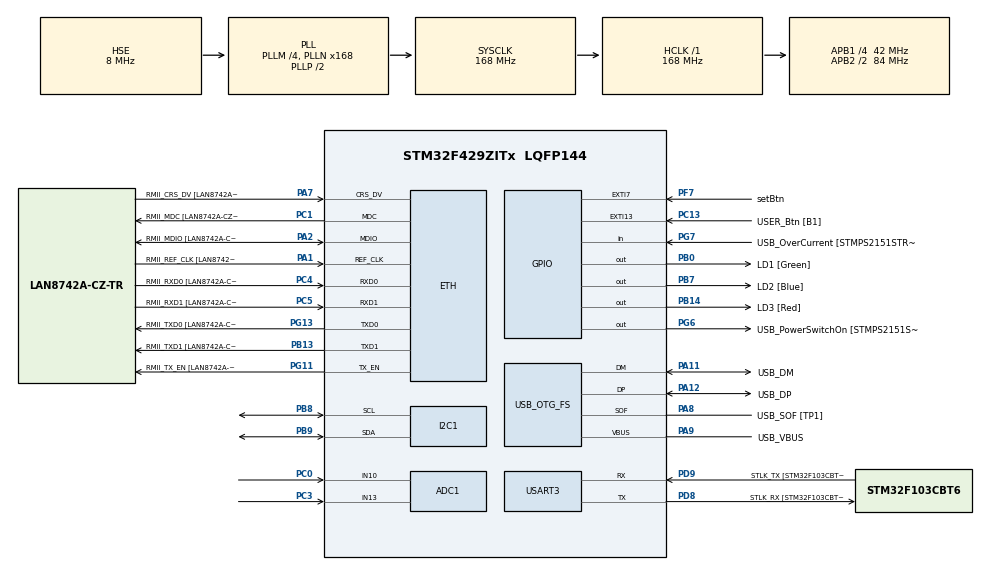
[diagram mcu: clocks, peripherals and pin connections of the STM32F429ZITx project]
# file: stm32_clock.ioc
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ADC1.Channel-0\#ChannelRegularConversion=ADC_CHANNEL_13
ADC1.Channel-2\#ChannelRegularConversion=ADC_CHANNEL_10
ADC1.ContinuousConvMode=ENABLE
ADC1.DMAContinuousRequests=ENABLE
ADC1.NbrOfConversion=2
ADC1.NbrOfConversionFlag=1
ADC1.Rank-0\#ChannelRegularConversion=1
ADC1.Rank-2\#ChannelRegularConversion=2
ADC1.SamplingTime-0\#ChannelRegularConversion=ADC_SAMPLETIME_84CYCLES
ADC1.SamplingTime-2\#ChannelRegularConversion=ADC_SAMPLETIME_84CYCLES
ADC1.ScanConvMode=ENABLE
ADC1.master=1
Dma.ADC1.0.Direction=DMA_PERIPH_TO_MEMORY
Dma.ADC1.0.FIFOMode=DMA_FIFOMODE_DISABLE
Dma.ADC1.0.Instance=DMA2_Stream0
Dma.ADC1.0.MemDataAlignment=DMA_MDATAALIGN_WORD
Dma.ADC1.0.MemInc=DMA_MINC_ENABLE
Dma.ADC1.0.Mode=DMA_CIRCULAR
Dma.ADC1.0.PeriphDataAlignment=DMA_PDATAALIGN_WORD
Dma.ADC1.0.PeriphInc=DMA_PINC_DISABLE
Dma.ADC1.0.Priority=DMA_PRIORITY_LOW
Dma.Request0=ADC1
ETH.MediaInterface=HAL_ETH_RMII_MODE
ETH.PHY_Name=LAN8742A_PHY_ADDRESS
ETH.PHY_Value=0
ETH.PhyAddress=0
Mcu.Family=STM32F4
Mcu.Name=STM32F429ZITx
Mcu.Package=LQFP144
NVIC.DMA2_Stream0_IRQn=true\:0\:0\:false\:false\:true\:false\:true\:true
NVIC.EXTI9_5_IRQn=true\:0\:0\:false\:true\:true\:1\:true\:true\:true
NVIC.PriorityGroup=NVIC_PRIORITYGROUP_4
NVIC.RTC_Alarm_IRQn=true\:0\:0\:false\:false\:true\:true\:true\:true
PA1.GPIO_Label=RMII_REF_CLK [LAN8742A-CZ-TR_REFCLK0]
PA1.Mode=RMII
PA1.Signal=ETH_REF_CLK
PA10.GPIO_Label=USB_ID
PA10.Signal=USB_OTG_FS_ID
PA11.GPIO_Label=USB_DM
PA11.Mode=Device_Only
PA11.Signal=USB_OTG_FS_DM
PA12.GPIO_Label=USB_DP
PA12.Mode=Device_Only
PA12.Signal=USB_OTG_FS_DP
PA13.GPIO_Label=TMS
PA13.Mode=Serial_Wire
PA13.Signal=SYS_JTMS-SWDIO
PA14.GPIO_Label=TCK
PA14.Mode=Serial_Wire
PA14.Signal=SYS_JTCK-SWCLK
PA2.GPIO_Label=RMII_MDIO [LAN8742A-CZ-TR_MDIO]
PA2.Mode=RMII
PA2.Signal=ETH_MDIO
PA7.GPIO_Label=RMII_CRS_DV [LAN8742A-CZ-TR_CRS_DV]
PA7.Mode=RMII
PA7.Signal=ETH_CRS_DV
PA8.GPIO_Label=USB_SOF [TP1]
PA8.Mode=Activate_SOF_FS
PA8.Signal=USB_OTG_FS_SOF
PA9.GPIO_Label=USB_VBUS
PA9.Mode=Activate_VBUS
PA9.Signal=USB_OTG_FS_VBUS
PB0.GPIO_Label=LD1 [Green]
PB0.Signal=GPIO_Output
PB13.GPIO_Label=RMII_TXD1 [LAN8742A-CZ-TR_TXD1]
PB13.Mode=RMII
PB13.Signal=ETH_TXD1
PB14.GPIO_Label=LD3 [Red]
PB14.Signal=GPIO_Output
PB7.GPIO_Label=LD2 [Blue]
PB7.Signal=GPIO_Output
PB8.Mode=I2C
PB8.Signal=I2C1_SCL
PB9.Mode=I2C
PB9.Signal=I2C1_SDA
PC0.Signal=ADCx_IN10
PC1.GPIO_Label=RMII_MDC [LAN8742A-CZ-TR_MDC]
PC1.Mode=RMII
PC1.Signal=ETH_MDC
PC13.GPIO_Label=USER_Btn [B1]
PC13.Signal=GPXTI13
PC14/OSC32_IN.Mode=LSE-External-Oscillator
PC14/OSC32_IN.Signal=RCC_OSC32_IN
PC15/OSC32_OUT.Mode=LSE-External-Oscillator
PC15/OSC32_OUT.Signal=RCC_OSC32_OUT
PC3.Signal=ADCx_IN13
PC4.GPIO_Label=RMII_RXD0 [LAN8742A-CZ-TR_RXD0]
PC4.Mode=RMII
PC4.Signal=ETH_RXD0
PC5.GPIO_Label=RMII_RXD1 [LAN8742A-CZ-TR_RXD1]
PC5.Mode=RMII
PC5.Signal=ETH_RXD1
PD8.GPIO_Label=STLK_RX [STM32F103CBT6_PA3]
PD8.Mode=Asynchronous
PD8.Signal=USART3_TX
PD9.GPIO_Label=STLK_TX [STM32F103CBT6_PA2]
PD9.Mode=Asynchronous
PD9.Signal=USART3_RX
PF7.GPIO_Label=setBtn
PF7.GPIO_ModeDefaultEXTI=GPIO_MODE_IT_RISING_FALLING
PF7.GPIO_PuPd=GPIO_PULLUP
PF7.Signal=GPXTI7
PG11.GPIO_Label=RMII_TX_EN [LAN8742A-CZ-TR_TXEN]
PG11.Mode=RMII
PG11.Signal=ETH_TX_EN
PG13.GPIO_Label=RMII_TXD0 [LAN8742A-CZ-TR_TXD0]
PG13.Mode=RMII
PG13.Signal=ETH_TXD0
PG6.GPIO_Label=USB_PowerSwitchOn [STMPS2151STR_EN]
PG6.Signal=GPIO_Output
PG7.GPIO_Label=USB_OverCurrent [STMPS2151STR_FAULT]
PG7.Signal=GPIO_Input
PH0/OSC_IN.GPIO_Label=MCO [STM32F103CBT6_PA8]
PH0/OSC_IN.Mode=HSE-External-Clock-Source
PH0/OSC_IN.Signal=RCC_OSC_IN
PH1/OSC_OUT.Mode=HSE-External-Clock-Source
PH1/OSC_OUT.Signal=RCC_OSC_OUT
ProjectManager.HeapSize=0x200
ProjectManager.StackSize=0x400
ProjectManager.TargetToolchain=STM32CubeIDE
RCC.48MHZClocksFreq_Value=48000000
RCC.AHBFreq_Value=168000000
RCC.APB1CLKDivider=RCC_HCLK_DIV4
RCC.APB1Freq_Value=42000000
RCC.APB1TimFreq_Value=84000000
RCC.APB2CLKDivider=RCC_HCLK_DIV2
RCC.APB2Freq_Value=84000000
RCC.APB2TimCLKDivider=2
RCC.APB2TimFreq_Value=168000000
RCC.CortexFreq_Value=168000000
RCC.HCLKFreq_Value=168000000
RCC.HSE_VALUE=8000000
RCC.HSI_VALUE=16000000
RCC.PLLM=4
RCC.PLLMUL=RCC_PLL_MUL9
RCC.PLLN=168
RCC.PLLQ=7
RCC.PRESCALERUSB=RCC_USBCLKSOURCE_PLL_DIV1_5
RCC.RCC_RTC_Clock_Source=RCC_RTCCLKSOURCE_LSE
RCC.RCC_RTC_Clock_SourceVirtual=RCC_RTCCLKSOURCE_LSE
RCC.SYSCLKFreq_VALUE=168000000
RCC.SYSCLKSource=RCC_SYSCLKSOURCE_PLLCLK
RCC.SYSCLKSourceVirtual=RCC_SYSCLKSOURCE_PLLCLK
RCC.USBFreq_Value=48000000
RCC.VCOOutputFreq_Value=336000000
RTC.Alarm=RTC_ALARM_A
RTC.AlarmMaskDateWeekDay=RTC_ALARMMASK_DATEWEEKDAY
RTC.Date=6
RTC.HourFormat=RTC_HOURFORMAT_12
RTC.Month=RTC_MONTH_NOVEMBER
RTC.Seconds_A=30
RTC.TimeFormat=RTC_HOURFORMAT12_AM
RTC.Year=23
SH.ADCx_IN10.0=ADC1_IN10,IN10
SH.ADCx_IN13.0=ADC1_IN13,IN13
USART3.VirtualMode=VM_ASYNC
USB_OTG_FS.VirtualMode=Device_Only
VP_RTC_VS_RTC_Activate.Mode=RTC_Enabled
VP_RTC_VS_RTC_Alarm_A_Intern.Mode=Alarm A
VP_RTC_VS_RTC_Calendar.Mode=RTC_Calendar
board=NUCLEO-F429ZI

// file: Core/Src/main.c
/* USER CODE BEGIN Header */
/**
  ******************************************************************************
  * @file           : main.c
  * @brief          : Main program body
  ******************************************************************************
  * @attention
  *
  * Copyright (c) 2023 STMicroelectronics.
  * All rights reserved.
  *
  * This software is licensed under terms that can be found in the LICENSE file
  * in the root directory of this software component.
  * If no LICENSE file comes with this software, it is provided AS-IS.
  *
  ******************************************************************************
  */
/* USER CODE END Header */
#include "main.h"
#include "string.h"

/* USER CODE BEGIN Includes */
#define LCD_ADDR (0x27 << 1)
#include "stdio.h"
/* USER CODE END Includes */

/* USER CODE BEGIN PD */
enum CLOCK_MODE{
	NORMAL_STATE,
	TIME_SETTING,
	ALARM_TIME_SETTING,
	MUSIC_SELECT
};
struct clock_state{
	enum CLOCK_MODE mode;
	int music_num;
};
struct clock_state current_state;

typedef struct {
  int8_t music_num;
  char music_title[16];
}MusicTypeDef;

MusicTypeDef alarm_music[] =
{
  {0,"Three Bears"},
  {1,"Spring Water"},
  {2,"Bicycle"},
  {3,"Home town"},
  {4,"Mom"},
};
#define MAGIC_NUM 0xdeadbeef

typedef struct {
  int8_t hours;
  int8_t minutes;
  int8_t seconds;
}TimeTypeDef;

typedef struct {
  uint32_t music_num;
  TimeTypeDef setting_time;
  TimeTypeDef alarm_time;
  int8_t alarm_music_num;
}NVitemTypeDef;

#define nv_items  ((NVitemTypeDef *) ADDR_FLASH_SECTOR_23)

NVitemTypeDef default_nvitem =
{
  MAGIC_NUM,
  {0,0,0},
  {0,0,0},
  0
};

/* USER CODE END PD */

ETH_TxPacketConfig TxConfig;
ETH_DMADescTypeDef  DMARxDscrTab[ETH_RX_DESC_CNT]; /* Ethernet Rx DMA Descriptors */
ETH_DMADescTypeDef  DMATxDscrTab[ETH_TX_DESC_CNT]; /* Ethernet Tx DMA Descriptors */

ADC_HandleTypeDef hadc1;
DMA_HandleTypeDef hdma_adc1;

ETH_HandleTypeDef heth;

I2C_HandleTypeDef hi2c1;

RTC_HandleTypeDef hrtc;

UART_HandleTypeDef huart3;

PCD_HandleTypeDef hpcd_USB_OTG_FS;

void SystemClock_Config(void);
static void MX_GPIO_Init(void);
static void MX_DMA_Init(void);
static void MX_ETH_Init(void);
static void MX_USART3_UART_Init(void);
static void MX_USB_OTG_FS_PCD_Init(void);
static void MX_I2C1_Init(void);
static void MX_RTC_Init(void);
static void MX_ADC1_Init(void);
static void MX_NVIC_Init(void);
/* USER CODE BEGIN PFP */
int _write(int file, char *ptr, int len) {
	HAL_UART_Transmit(&huart3, (uint8_t *)ptr, len, 500);
	return len;
}
int __io_putchar(int ch) {
	HAL_UART_Transmit(&huart3, (uint8_t *)&ch, 1, 1000);
	return ch;
}
/* USER CODE END PFP */

/* USER CODE BEGIN 0 */
extern void I2C_Scan(void);
void LCD_Init(uint8_t lcd_addr);
void LCD_SendCommand(uint8_t lcd_addr, uint8_t cmd);
void LCD_SendString(uint8_t lcd_addr, char *str);

void setTime(int n);
void time_display(void);

void leftright();

char showTime[30] = {0};
char showDate[30] = {0};
char alarmTime[30] = {0};
char ampm[2][3] = {"AM", "PM"};

int hourMinSec = 0;

RTC_TimeTypeDef sTime;
RTC_DateTypeDef sDate;
RTC_AlarmTypeDef aTime;

void set_alarm(uint8_t hh, uint8_t mm, uint8_t ss)
{
	aTime.AlarmTime.Hours = hh; // set hours
	aTime.AlarmTime.Minutes = mm; // set minutes
	aTime.AlarmTime.Seconds = ss; // set seconds
	HAL_RTC_SetAlarm(&hrtc, &aTime, RTC_FORMAT_BIN);
}
void get_alarm(void)
{
	HAL_RTC_GetAlarm(&hrtc, &aTime, RTC_CR_ALRAE, RTC_FORMAT_BIN);
	sprintf((char*)alarmTime, "%s %02d : %02d : %02d      ", ampm[aTime.AlarmTime.TimeFormat], aTime.AlarmTime.Hours, aTime.AlarmTime.Minutes, aTime.AlarmTime.Seconds);
}

void get_time(void)
{
	HAL_RTC_GetTime(&hrtc, &sTime, RTC_FORMAT_BIN);
	HAL_RTC_GetDate(&hrtc, &sDate, RTC_FORMAT_BIN);
	sprintf((char*)showTime, "%s %02d : %02d : %02d      ", ampm[sTime.TimeFormat], sTime.Hours, sTime.Minutes, sTime.Seconds);
	sprintf((char *)showDate, "%04d-%02d-%02d         ", 2000 + sDate.Year, sDate.Month, sDate.Date);
}
void set_time(uint8_t hh, uint8_t mm, uint8_t ss) {
//	RTC_TimeTypeDef sTime;
	sTime.Hours = hh; // set hours
	sTime.Minutes = mm; // set minutes
	sTime.Seconds = ss; // set seconds
	HAL_RTC_SetTime(&hrtc, &sTime, RTC_FORMAT_BIN);
}

void set_Date(uint8_t ww, uint8_t mm, uint8_t dd, uint8_t yy) {
//	RTC_DateTypeDef sDate;
	sDate.WeekDay = ww; // date RTC_WEEKDAY_THURSDAY
	sDate.Month = mm; // month RTC_MONTH_FEBRUARY
	sDate.Date = dd; // date
	sDate.Year = yy; // year
	HAL_RTC_SetDate(&hrtc, &sDate, RTC_FORMAT_BIN);
}

uint32_t XY[2];
uint32_t ctime, ltime, interval;
int level;
uint32_t double_key_cnt;

void HAL_GPIO_EXTI_Callback(uint16_t GPIO_Pin)
{
if (GPIO_Pin == GPIO_PIN_7) {
	ctime = HAL_GetTick();
	interval = ctime - ltime;
	ltime = ctime;
	level = HAL_GPIO_ReadPin(GPIOF, GPIO_PIN_7);

	if (level == 1) {
//  			printf("interval = %u, cnt: %u ", (unsigned int)interval, double_key_cnt);
		if (interval < 130) {
			double_key_cnt++;
		}
		else if (interval >= 130 && interval <= 200) {
			printf("One click \r\n");
			if (current_state.mode == NORMAL_STATE) {
				current_state.mode = TIME_SETTING;
				setTime(hourMinSec);
			}
			else {
				current_state.mode = NORMAL_STATE;
			}
			double_key_cnt = 0;
		}
		else if (interval >= 1000) {
			printf("long \r\n");
			current_state.mode = ALARM_TIME_SETTING;
			double_key_cnt =0;
		}
		if (double_key_cnt >= 3) {
			printf("double~~~~~~~~~\r\n");
			current_state.mode = MUSIC_SELECT;
			double_key_cnt = 0;
		}
	}
	time_display();
  }
}
void time_display(void) {
  if (current_state.mode == NORMAL_STATE) {
	  get_time();
	  LCD_SendCommand(LCD_ADDR, 0b10000000);
	  LCD_SendString(LCD_ADDR, showDate);
	  LCD_SendCommand(LCD_ADDR, 0b11000000);
	  LCD_SendString(LCD_ADDR, showTime);
  }
  else if (current_state.mode == TIME_SETTING){
	  LCD_SendCommand(LCD_ADDR, 0b10000000);
	  LCD_SendString(LCD_ADDR, "Time Setting      ");
	  LCD_SendCommand(LCD_ADDR, 0b11000000);
	  LCD_SendString(LCD_ADDR, showTime);
  }
  else if (current_state.mode == ALARM_TIME_SETTING) {
	  get_alarm();
	  LCD_SendCommand(LCD_ADDR, 0b10000000);
	  LCD_SendString(LCD_ADDR, "Alarm Setting       ");
	  LCD_SendCommand(LCD_ADDR, 0b11000000);
	  LCD_SendString(LCD_ADDR, alarmTime);
  }
}
void setTime(int hourMinSec) {
	  leftright();
	if (hourMinSec == 1) {
		printf("Hour controlling \r\n");
		HAL_GPIO_TogglePin(GPIOB, LD1_Pin);
		updown(sTime.Hours);
	} else if (hourMinSec == 2) {
		printf("Minute controlling  \r\n");
		HAL_GPIO_TogglePin(GPIOB, LD2_Pin);
		updown(sTime.Minutes);
	} else if (hourMinSec == 3) {
		printf("Seconds controlling \r\n");
		HAL_GPIO_TogglePin(GPIOB, LD3_Pin);
		updown(sTime.Seconds);
	}
}
void updown(uint8_t timePosition) {
  if (XY[1] < 100) {
	  timePosition--;
  } else if (XY[1] > 900) {
	  timePosition++;
  }
}

void leftright() {
  if (XY[0] < 100) {
	  hourMinSec++;
  } else if (XY[0] > 900) {
	  hourMinSec--;
  }
  hourMinSec %= 4;
}
/* USER CODE END 0 */

int main(void)
{

  /* MCU Configuration--------------------------------------------------------*/

  /* Reset of all peripherals, Initializes the Flash interface and the Systick. */
  HAL_Init();

  /* Configure the system clock */
  SystemClock_Config();

  /* Initialize all configured peripherals */
  MX_GPIO_Init();
  MX_DMA_Init();
  MX_ETH_Init();
  MX_USART3_UART_Init();
  MX_USB_OTG_FS_PCD_Init();
  MX_I2C1_Init();
  MX_RTC_Init();
  MX_ADC1_Init();

  /* Initialize interrupts */
  MX_NVIC_Init();
  /* USER CODE BEGIN 2 */
  I2C_Scan();
  LCD_Init(LCD_ADDR);
  HAL_ADC_Start_DMA(&hadc1, XY, 2);

  current_state.mode = NORMAL_STATE;
  /* USER CODE END 2 */

  /* Infinite loop */
  /* USER CODE BEGIN WHILE */
  while (1)
  {
	  time_display();
	  HAL_UART_Transmit(&huart3, (uint8_t *)&showTime, strlen(showTime), 1000);
	  HAL_UART_Transmit(&huart3, (uint8_t *)&showDate, strlen(showDate), 1000);

	  printf("\r\n");

//	  printf("%d %d\r\n",XY[0], XY[1]);
    /* USER CODE END WHILE */

  }
}

void SystemClock_Config(void)
{
  RCC_OscInitTypeDef RCC_OscInitStruct = {0};
  RCC_ClkInitTypeDef RCC_ClkInitStruct = {0};

  /** Configure the main internal regulator output voltage
  */
  __HAL_RCC_PWR_CLK_ENABLE();
  __HAL_PWR_VOLTAGESCALING_CONFIG(PWR_REGULATOR_VOLTAGE_SCALE1);

  /** Initializes the RCC Oscillators according to the specified parameters
  * in the RCC_OscInitTypeDef structure.
  */
  RCC_OscInitStruct.OscillatorType = RCC_OSCILLATORTYPE_HSE|RCC_OSCILLATORTYPE_LSE;
  RCC_OscInitStruct.HSEState = RCC_HSE_BYPASS;
  RCC_OscInitStruct.LSEState = RCC_LSE_ON;
  RCC_OscInitStruct.PLL.PLLState = RCC_PLL_ON;
  RCC_OscInitStruct.PLL.PLLSource = RCC_PLLSOURCE_HSE;
  RCC_OscInitStruct.PLL.PLLM = 4;
  RCC_OscInitStruct.PLL.PLLN = 168;
  RCC_OscInitStruct.PLL.PLLP = RCC_PLLP_DIV2;
  RCC_OscInitStruct.PLL.PLLQ = 7;
  if (HAL_RCC_OscConfig(&RCC_OscInitStruct) != HAL_OK)
  {
    Error_Handler();
  }

  /** Initializes the CPU, AHB and APB buses clocks
  */
  RCC_ClkInitStruct.ClockType = RCC_CLOCKTYPE_HCLK|RCC_CLOCKTYPE_SYSCLK
                              |RCC_CLOCKTYPE_PCLK1|RCC_CLOCKTYPE_PCLK2;
  RCC_ClkInitStruct.SYSCLKSource = RCC_SYSCLKSOURCE_PLLCLK;
  RCC_ClkInitStruct.AHBCLKDivider = RCC_SYSCLK_DIV1;
  RCC_ClkInitStruct.APB1CLKDivider = RCC_HCLK_DIV4;
  RCC_ClkInitStruct.APB2CLKDivider = RCC_HCLK_DIV2;

  if (HAL_RCC_ClockConfig(&RCC_ClkInitStruct, FLASH_LATENCY_5) != HAL_OK)
  {
    Error_Handler();
  }
}

/**
  * @brief NVIC Configuration.
  * @retval None
  */
static void MX_NVIC_Init(void)
{
  /* EXTI9_5_IRQn interrupt configuration */
  HAL_NVIC_SetPriority(EXTI9_5_IRQn, 0, 0);
  HAL_NVIC_EnableIRQ(EXTI9_5_IRQn);
}

static void MX_ADC1_Init(void)
{

  ADC_ChannelConfTypeDef sConfig = {0};

  /** Configure the global features of the ADC (Clock, Resolution, Data Alignment and number of conversion)
  */
  hadc1.Instance = ADC1;
  hadc1.Init.ClockPrescaler = ADC_CLOCK_SYNC_PCLK_DIV4;
  hadc1.Init.Resolution = ADC_RESOLUTION_12B;
  hadc1.Init.ScanConvMode = ENABLE;
  hadc1.Init.ContinuousConvMode = ENABLE;
  hadc1.Init.DiscontinuousConvMode = DISABLE;
  hadc1.Init.ExternalTrigConvEdge = ADC_EXTERNALTRIGCONVEDGE_NONE;
  hadc1.Init.ExternalTrigConv = ADC_SOFTWARE_START;
  hadc1.Init.DataAlign = ADC_DATAALIGN_RIGHT;
  hadc1.Init.NbrOfConversion = 2;
  hadc1.Init.DMAContinuousRequests = ENABLE;
  hadc1.Init.EOCSelection = ADC_EOC_SINGLE_CONV;
  if (HAL_ADC_Init(&hadc1) != HAL_OK)
  {
    Error_Handler();
  }

  /** Configure for the selected ADC regular channel its corresponding rank in the sequencer and its sample time.
  */
  sConfig.Channel = ADC_CHANNEL_13;
  sConfig.Rank = 1;
  sConfig.SamplingTime = ADC_SAMPLETIME_84CYCLES;
  if (HAL_ADC_ConfigChannel(&hadc1, &sConfig) != HAL_OK)
  {
    Error_Handler();
  }

  /** Configure for the selected ADC regular channel its corresponding rank in the sequencer and its sample time.
  */
  sConfig.Channel = ADC_CHANNEL_10;
  sConfig.Rank = 2;
  if (HAL_ADC_ConfigChannel(&hadc1, &sConfig) != HAL_OK)
  {
    Error_Handler();
  }

}

static void MX_ETH_Init(void)
{

   static uint8_t MACAddr[6];

  heth.Instance = ETH;
  MACAddr[0] = 0x00;
  MACAddr[1] = 0x80;
  MACAddr[2] = 0xE1;
  MACAddr[3] = 0x00;
  MACAddr[4] = 0x00;
  MACAddr[5] = 0x00;
  heth.Init.MACAddr = &MACAddr[0];
  heth.Init.MediaInterface = HAL_ETH_RMII_MODE;
  heth.Init.TxDesc = DMATxDscrTab;
  heth.Init.RxDesc = DMARxDscrTab;
  heth.Init.RxBuffLen = 1524;

  if (HAL_ETH_Init(&heth) != HAL_OK)
  {
    Error_Handler();
  }

  memset(&TxConfig, 0 , sizeof(ETH_TxPacketConfig));
  TxConfig.Attributes = ETH_TX_PACKETS_FEATURES_CSUM | ETH_TX_PACKETS_FEATURES_CRCPAD;
  TxConfig.ChecksumCtrl = ETH_CHECKSUM_IPHDR_PAYLOAD_INSERT_PHDR_CALC;
  TxConfig.CRCPadCtrl = ETH_CRC_PAD_INSERT;

}

static void MX_I2C1_Init(void)
{

  hi2c1.Instance = I2C1;
  hi2c1.Init.ClockSpeed = 100000;
  hi2c1.Init.DutyCycle = I2C_DUTYCYCLE_2;
  hi2c1.Init.OwnAddress1 = 0;
  hi2c1.Init.AddressingMode = I2C_ADDRESSINGMODE_7BIT;
  hi2c1.Init.DualAddressMode = I2C_DUALADDRESS_DISABLE;
  hi2c1.Init.OwnAddress2 = 0;
  hi2c1.Init.GeneralCallMode = I2C_GENERALCALL_DISABLE;
  hi2c1.Init.NoStretchMode = I2C_NOSTRETCH_DISABLE;
  if (HAL_I2C_Init(&hi2c1) != HAL_OK)
  {
    Error_Handler();
  }

  /** Configure Analogue filter
  */
  if (HAL_I2CEx_ConfigAnalogFilter(&hi2c1, I2C_ANALOGFILTER_ENABLE) != HAL_OK)
  {
    Error_Handler();
  }

  /** Configure Digital filter
  */
  if (HAL_I2CEx_ConfigDigitalFilter(&hi2c1, 0) != HAL_OK)
  {
    Error_Handler();
  }

}

static void MX_RTC_Init(void)
{

  RTC_TimeTypeDef sTime = {0};
  RTC_DateTypeDef sDate = {0};
  RTC_AlarmTypeDef sAlarm = {0};

  /** Initialize RTC Only
  */
  hrtc.Instance = RTC;
  hrtc.Init.HourFormat = RTC_HOURFORMAT_12;
  hrtc.Init.AsynchPrediv = 127;
  hrtc.Init.SynchPrediv = 255;
  hrtc.Init.OutPut = RTC_OUTPUT_DISABLE;
  hrtc.Init.OutPutPolarity = RTC_OUTPUT_POLARITY_HIGH;
  hrtc.Init.OutPutType = RTC_OUTPUT_TYPE_OPENDRAIN;
  if (HAL_RTC_Init(&hrtc) != HAL_OK)
  {
    Error_Handler();
  }

  /** Initialize RTC and set the Time and Date
  */
  sTime.Hours = 0x1;
  sTime.Minutes = 0x0;
  sTime.Seconds = 0x0;
  sTime.TimeFormat = RTC_HOURFORMAT12_AM;
  sTime.DayLightSaving = RTC_DAYLIGHTSAVING_NONE;
  sTime.StoreOperation = RTC_STOREOPERATION_RESET;
  if (HAL_RTC_SetTime(&hrtc, &sTime, RTC_FORMAT_BCD) != HAL_OK)
  {
    Error_Handler();
  }
  sDate.WeekDay = RTC_WEEKDAY_MONDAY;
  sDate.Month = RTC_MONTH_NOVEMBER;
  sDate.Date = 0x6;
  sDate.Year = 0x23;

  if (HAL_RTC_SetDate(&hrtc, &sDate, RTC_FORMAT_BCD) != HAL_OK)
  {
    Error_Handler();
  }

  /** Enable the Alarm A
  */
  sAlarm.AlarmTime.Hours = 0x1;
  sAlarm.AlarmTime.Minutes = 0x0;
  sAlarm.AlarmTime.Seconds = 0x30;
  sAlarm.AlarmTime.SubSeconds = 0x0;
  sAlarm.AlarmTime.TimeFormat = RTC_HOURFORMAT12_AM;
  sAlarm.AlarmTime.DayLightSaving = RTC_DAYLIGHTSAVING_NONE;
  sAlarm.AlarmTime.StoreOperation = RTC_STOREOPERATION_RESET;
  sAlarm.AlarmMask = RTC_ALARMMASK_DATEWEEKDAY;
  sAlarm.AlarmSubSecondMask = RTC_ALARMSUBSECONDMASK_ALL;
  sAlarm.AlarmDateWeekDaySel = RTC_ALARMDATEWEEKDAYSEL_DATE;
  sAlarm.AlarmDateWeekDay = 0x1;
  sAlarm.Alarm = RTC_ALARM_A;
  if (HAL_RTC_SetAlarm_IT(&hrtc, &sAlarm, RTC_FORMAT_BCD) != HAL_OK)
  {
    Error_Handler();
  }
  /* USER CODE BEGIN RTC_Init 2 */
//  HAL_RTC_SetAlarm_IT(&hrtc, &sAlarm, RTC_FORMAT_BCD);
  /* USER CODE END RTC_Init 2 */

}

static void MX_USART3_UART_Init(void)
{

  huart3.Instance = USART3;
  huart3.Init.BaudRate = 115200;
  huart3.Init.WordLength = UART_WORDLENGTH_8B;
  huart3.Init.StopBits = UART_STOPBITS_1;
  huart3.Init.Parity = UART_PARITY_NONE;
  huart3.Init.Mode = UART_MODE_TX_RX;
  huart3.Init.HwFlowCtl = UART_HWCONTROL_NONE;
  huart3.Init.OverSampling = UART_OVERSAMPLING_16;
  if (HAL_UART_Init(&huart3) != HAL_OK)
  {
    Error_Handler();
  }

}

static void MX_USB_OTG_FS_PCD_Init(void)
{

  hpcd_USB_OTG_FS.Instance = USB_OTG_FS;
  hpcd_USB_OTG_FS.Init.dev_endpoints = 4;
  hpcd_USB_OTG_FS.Init.speed = PCD_SPEED_FULL;
  hpcd_USB_OTG_FS.Init.dma_enable = DISABLE;
  hpcd_USB_OTG_FS.Init.phy_itface = PCD_PHY_EMBEDDED;
  hpcd_USB_OTG_FS.Init.Sof_enable = ENABLE;
  hpcd_USB_OTG_FS.Init.low_power_enable = DISABLE;
  hpcd_USB_OTG_FS.Init.lpm_enable = DISABLE;
  hpcd_USB_OTG_FS.Init.vbus_sensing_enable = ENABLE;
  hpcd_USB_OTG_FS.Init.use_dedicated_ep1 = DISABLE;
  if (HAL_PCD_Init(&hpcd_USB_OTG_FS) != HAL_OK)
  {
    Error_Handler();
  }

}

static void MX_DMA_Init(void)
{

  /* DMA controller clock enable */
  __HAL_RCC_DMA2_CLK_ENABLE();

  /* DMA interrupt init */
  /* DMA2_Stream0_IRQn interrupt configuration */
  HAL_NVIC_SetPriority(DMA2_Stream0_IRQn, 0, 0);
  HAL_NVIC_EnableIRQ(DMA2_Stream0_IRQn);

}

static void MX_GPIO_Init(void)
{
  GPIO_InitTypeDef GPIO_InitStruct = {0};

  /* GPIO Ports Clock Enable */
  __HAL_RCC_GPIOC_CLK_ENABLE();
  __HAL_RCC_GPIOF_CLK_ENABLE();
  __HAL_RCC_GPIOH_CLK_ENABLE();
  __HAL_RCC_GPIOA_CLK_ENABLE();
  __HAL_RCC_GPIOB_CLK_ENABLE();
  __HAL_RCC_GPIOD_CLK_ENABLE();
  __HAL_RCC_GPIOG_CLK_ENABLE();

  /*Configure GPIO pin Output Level */
  HAL_GPIO_WritePin(GPIOB, LD1_Pin|LD3_Pin|LD2_Pin, GPIO_PIN_RESET);

  /*Configure GPIO pin Output Level */
  HAL_GPIO_WritePin(USB_PowerSwitchOn_GPIO_Port, USB_PowerSwitchOn_Pin, GPIO_PIN_RESET);

  /*Configure GPIO pin : USER_Btn_Pin */
  GPIO_InitStruct.Pin = USER_Btn_Pin;
  GPIO_InitStruct.Mode = GPIO_MODE_IT_RISING;
  GPIO_InitStruct.Pull = GPIO_NOPULL;
  HAL_GPIO_Init(USER_Btn_GPIO_Port, &GPIO_InitStruct);

  /*Configure GPIO pin : setBtn_Pin */
  GPIO_InitStruct.Pin = setBtn_Pin;
  GPIO_InitStruct.Mode = GPIO_MODE_IT_RISING_FALLING;
  GPIO_InitStruct.Pull = GPIO_PULLUP;
  HAL_GPIO_Init(setBtn_GPIO_Port, &GPIO_InitStruct);

  /*Configure GPIO pins : LD1_Pin LD3_Pin LD2_Pin */
  GPIO_InitStruct.Pin = LD1_Pin|LD3_Pin|LD2_Pin;
  GPIO_InitStruct.Mode = GPIO_MODE_OUTPUT_PP;
  GPIO_InitStruct.Pull = GPIO_NOPULL;
  GPIO_InitStruct.Speed = GPIO_SPEED_FREQ_LOW;
  HAL_GPIO_Init(GPIOB, &GPIO_InitStruct);

  /*Configure GPIO pin : USB_PowerSwitchOn_Pin */
  GPIO_InitStruct.Pin = USB_PowerSwitchOn_Pin;
  GPIO_InitStruct.Mode = GPIO_MODE_OUTPUT_PP;
  GPIO_InitStruct.Pull = GPIO_NOPULL;
  GPIO_InitStruct.Speed = GPIO_SPEED_FREQ_LOW;
  HAL_GPIO_Init(USB_PowerSwitchOn_GPIO_Port, &GPIO_InitStruct);

  /*Configure GPIO pin : USB_OverCurrent_Pin */
  GPIO_InitStruct.Pin = USB_OverCurrent_Pin;
  GPIO_InitStruct.Mode = GPIO_MODE_INPUT;
  GPIO_InitStruct.Pull = GPIO_NOPULL;
  HAL_GPIO_Init(USB_OverCurrent_GPIO_Port, &GPIO_InitStruct);

}

/* USER CODE BEGIN 4 */
uint32_t current_tick, old_tick, time_interval, last_time_interval;
uint32_t long_key_cnt;
/*
 * Double click : time_interval = 100~200ms
 * Long Key : time_interval = 20~50ms in 30 consecutive times
 */
void HAL_RTC_AlarmAEventCallback(RTC_HandleTypeDef *hrtc)
{
  printf("alarm~! \r\n");

}

/* USER CODE END 4 */

void Error_Handler(void)
{
  __disable_irq();
  while (1)
  {
  }
}
